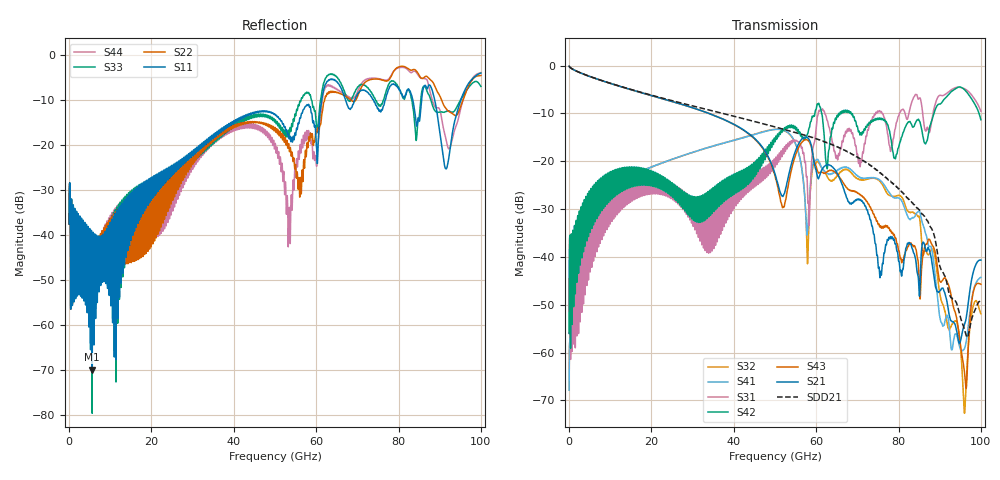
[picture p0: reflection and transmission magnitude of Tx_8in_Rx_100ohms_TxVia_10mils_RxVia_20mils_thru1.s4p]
! Info: Touchstone file created by Circ.  Input file=Tx_8in_Rx_100ohms_TxVia_10mils_RxVia_20mils.circ
# Hz S RI R 50
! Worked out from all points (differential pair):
!   10000 points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, 10 MHz to 100 GHz, reference 50 ohm
!   strongest paths, dB at 10 MHz, 25.01 GHz, 50.01 GHz, 75.01 GHz, 100 GHz:
!     S21: -0.1, -7.5, -22.7, -41.3, -40.7
!     S43: -0.1, -7.5, -23.1, -33.1, -45.7
!     S42: -56.0, -24.5, -15.9, -11.1, -11.3
!     S31: -56.0, -24.8, -21.2, -9.5, -9.5
!     S41: -67.9, -19.6, -13.3, -23.7, -44.3
!     S32: -67.9, -19.6, -13.3, -23.9, -51.9
!   taken as a pair (ports 1,3 in; 2,4 out), SDD21 dB: -0.1, -7.3, -12.8, -22.1, -49.4
!   lowest |S11| = -69.8 dB at 5.63 GHz (marker M1), VSWR 1.00, Z = 50 + j0.0177 ohm
!   |S11| at or under -10 dB: start of sweep to 61.34 GHz; 73.92 GHz to 76.78 GHz (2.855 GHz wide, 3.79 % of centre); 88.79 GHz to 95.12 GHz (6.331 GHz wide, 6.88 % of centre)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
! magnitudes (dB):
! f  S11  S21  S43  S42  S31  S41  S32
! 10 MHz  -37.5  -0.1  -0.1  -56.0  -56.0  -67.9  -67.9
! 5.63 GHz  -69.8  -2.4  -2.4  -27.4  -28.3  -29.5  -29.5
! 51.76 GHz  -15.1  -27.2  -29.6  -13.8  -18.5  -13.4  -13.4
! 57.86 GHz  -11.1  -15.0  -15.5  -14.3  -24.8  -35.1  -41.2
! 84.68 GHz  -14.5  -43.7  -40.4  -11.3  -6.8  -30.6  -31.5
! 95.99 GHz  -8.0  -54.3  -63.9  -5.0  -4.8  -59.2  -72.7
! 100 GHz  -4.0  -40.7  -45.7  -11.3  -9.5  -44.3  -51.9
